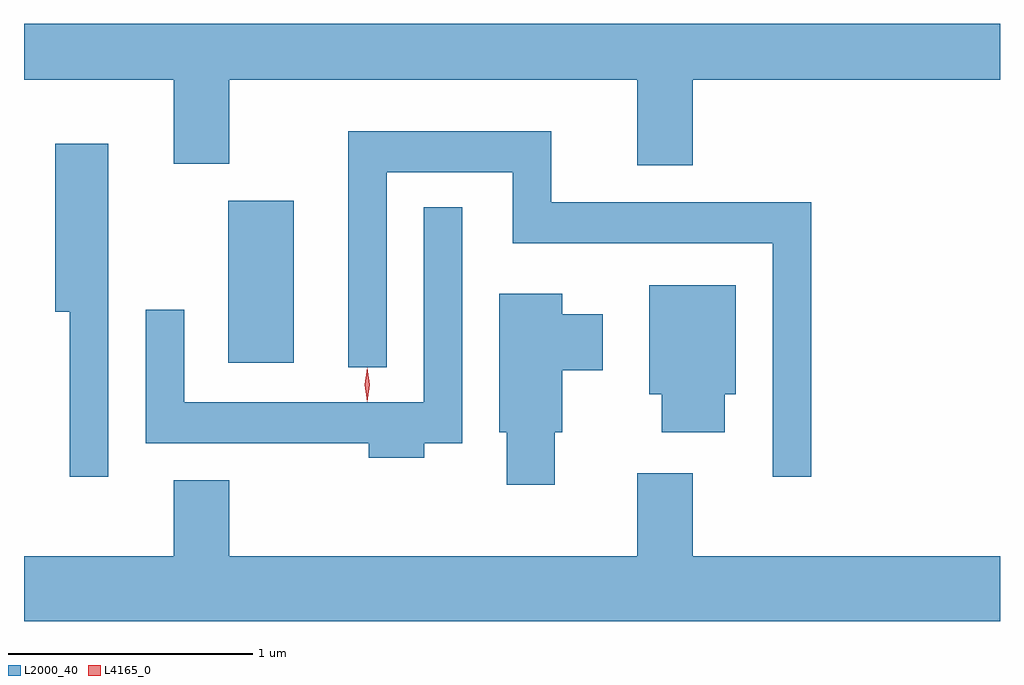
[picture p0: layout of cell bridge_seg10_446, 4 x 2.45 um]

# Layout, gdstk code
import gdstk
lib = gdstk.Library(unit=1e-6, precision=1e-09)
def R(c, l, rs):  # rectangles x0, y0, x1, y1
    for r in rs: c.add(gdstk.rectangle(r[:2], r[2:], *l))
def P(c, l, *ps):  # polygons
    for p in ps: c.add(gdstk.Polygon(p, *l))
L2000_40 = (2000, 40)
L4165_0 = (4165, 0)

bridge_seg10_446 = lib.new_cell('bridge_seg10_446')
R(bridge_seg10_446, L2000_40, [(1442.926,2112.756,1443.194,2113.419)])
P(bridge_seg10_446, L2000_40, [(1444.829,2113.916),(1446.088,2113.916),(1446.088,2114.146),(1442.088,2114.146),(1442.088,2113.916),(1442.701,2113.916),(1442.701,2113.571),(1442.929,2113.571),(1442.929,2113.916),(1444.601,2113.916),(1444.601,2113.566),(1444.829,2113.566)],
  [(1445.314,2113.414),(1444.249,2113.414),(1444.249,2113.704),(1443.416,2113.704),(1443.416,2112.738),(1443.574,2112.738),(1443.574,2113.536),(1444.091,2113.536),(1444.091,2113.246),(1445.156,2113.246),(1445.156,2112.288),(1445.314,2112.288)],
  [(1442.434,2113.654),(1442.216,2113.654),(1442.216,2112.966),(1442.276,2112.966),(1442.276,2112.288),(1442.434,2112.288)],
  [(1443.729,2112.426),(1443.884,2112.426),(1443.884,2113.393),(1443.726,2113.393),(1443.726,2112.594),(1442.744,2112.594),(1442.744,2112.973),(1442.586,2112.973),(1442.586,2112.426),(1443.501,2112.426),(1443.501,2112.366),(1443.729,2112.366)],
  [(1444.959,2112.626),(1445.004,2112.626),(1445.004,2113.074),(1444.651,2113.074),(1444.651,2112.626),(1444.701,2112.626),(1444.701,2112.471),(1444.959,2112.471)],
  [(1444.264,2112.471),(1444.294,2112.471),(1444.294,2112.726),(1444.459,2112.726),(1444.459,2112.954),(1444.294,2112.954),(1444.294,2113.039),(1444.036,2113.039),(1444.036,2112.471),(1444.066,2112.471),(1444.066,2112.256),(1444.264,2112.256)],
  [(1446.088,2111.964),(1444.829,2111.964),(1444.829,2112.304),(1444.601,2112.304),(1444.601,2111.964),(1442.929,2111.964),(1442.929,2112.274),(1442.701,2112.274),(1442.701,2111.964),(1442.088,2111.964),(1442.088,2111.696),(1446.088,2111.696)])
P(bridge_seg10_446, L4165_0, [(1443.494,2112.597),(1443.485,2112.666),(1443.494,2112.736),(1443.495,2112.736),(1443.495,2112.736),(1443.505,2112.666),(1443.495,2112.597),(1443.495,2112.597)])

lib.write_gds('bridge_seg10_446.gds')
